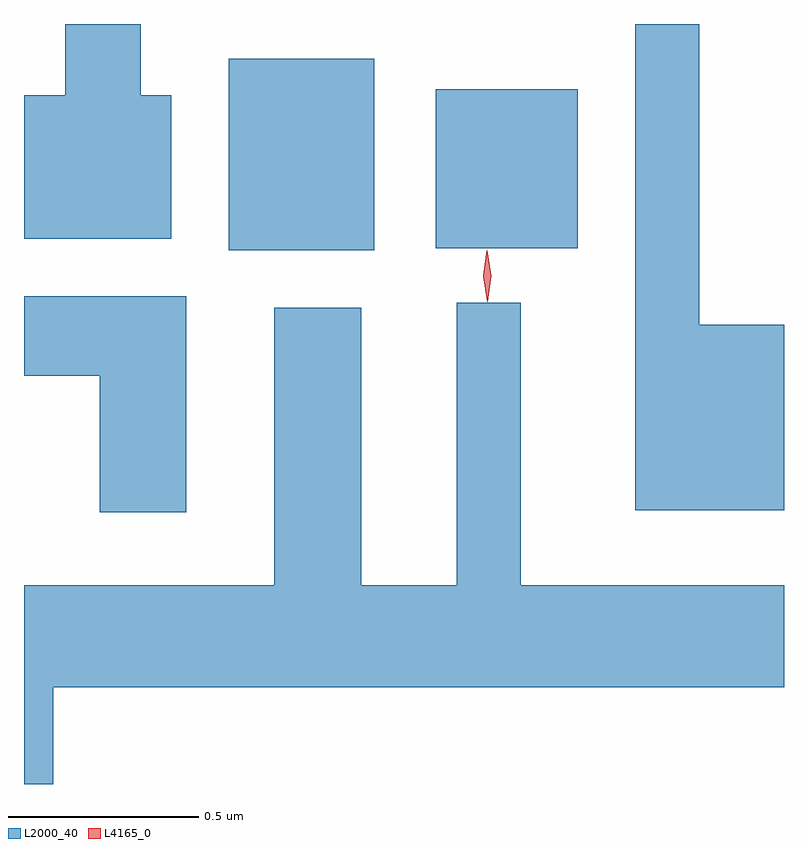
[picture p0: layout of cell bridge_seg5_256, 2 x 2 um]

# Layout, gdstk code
import gdstk
lib = gdstk.Library(unit=1e-6, precision=1e-09)
def R(c, l, rs):  # rectangles x0, y0, x1, y1
    for r in rs: c.add(gdstk.rectangle(r[:2], r[2:], *l))
def P(c, l, *ps):  # polygons
    for p in ps: c.add(gdstk.Polygon(p, *l))
L2000_40 = (2000, 40)
L4165_0 = (4165, 0)

bridge_seg5_256 = lib.new_cell('bridge_seg5_256')
R(bridge_seg5_256, L2000_40, [(1249.641,1400.226,1250.024,1400.729), (1250.186,1400.231,1250.559,1400.649)])
P(bridge_seg5_256, L2000_40, [(1249.489,1400.634),(1249.409,1400.634),(1249.409,1400.821),(1249.211,1400.821),(1249.211,1400.634),(1249.102,1400.634),(1249.102,1400.256),(1249.489,1400.256)],
  [(1251.102,1400.029),(1250.879,1400.029),(1250.879,1400.821),(1250.711,1400.821),(1250.711,1399.541),(1251.102,1399.541)],
  [(1249.529,1400.104),(1249.102,1400.104),(1249.102,1399.896),(1249.301,1399.896),(1249.301,1399.536),(1249.529,1399.536)],
  [(1249.179,1399.076),(1251.102,1399.076),(1251.102,1399.344),(1250.409,1399.344),(1250.409,1400.088),(1250.241,1400.088),(1250.241,1399.344),(1249.989,1399.344),(1249.989,1400.074),(1249.761,1400.074),(1249.761,1399.344),(1249.102,1399.344),(1249.102,1398.821),(1249.179,1398.821)])
P(bridge_seg5_256, L4165_0, [(1250.321,1400.093),(1250.321,1400.093),(1250.311,1400.157),(1250.32,1400.221),(1250.321,1400.222),(1250.321,1400.221),(1250.331,1400.157),(1250.322,1400.093)],
  [(1250.321,1400.09),(1250.321,1400.09),(1250.311,1400.158),(1250.32,1400.225),(1250.32,1400.226),(1250.321,1400.225),(1250.331,1400.158),(1250.322,1400.09)])

lib.write_gds('bridge_seg5_256.gds')
